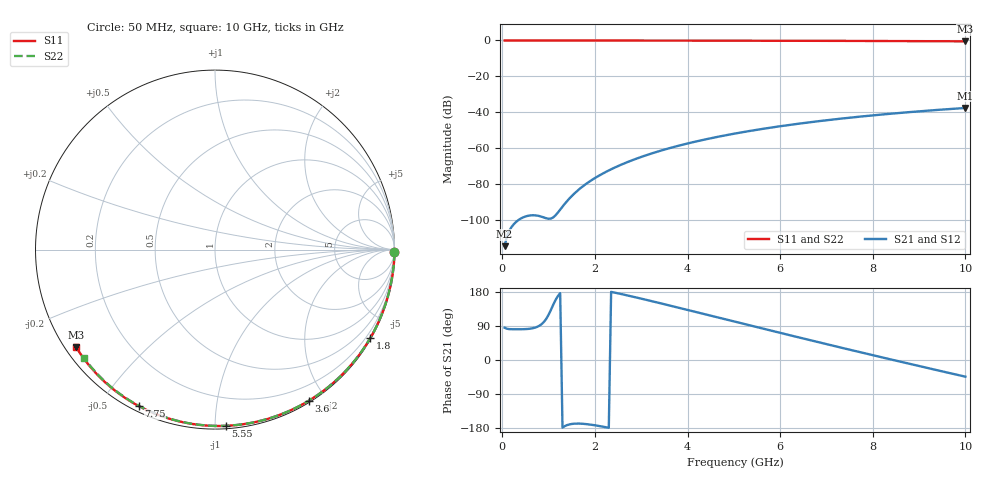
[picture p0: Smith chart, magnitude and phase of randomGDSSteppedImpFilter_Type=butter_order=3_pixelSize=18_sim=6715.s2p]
! freq	dB(S11)	phase(S11)	dB(S12)	phase(S12)
!  dB(S21)	phase(S21)	dB(S22)	phase(S22)
!S-par simulation data
#  GHz  S  DB  R 50
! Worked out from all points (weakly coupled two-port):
!   200 points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, 50 MHz to 10 GHz, reference 50 ohm
!   highest |S21| = -37.60 dB at 10 GHz (marker M1); lowest = -114.6 dB at 50 MHz (marker M2)
!   lowest |S11| = -0.5 dB at 10 GHz (marker M3), VSWR 35.73, Z = 1.54 - j15.8 ohm
!   |S11| at or under -10 dB: nowhere
!   |S22| runs from -0.5 to 0.0 dB; largest |S21 - S12| = 0
!   S11 on the Smith chart (normalised r, x): 50 MHz: open; 1.8 GHz: 0.03, -3.76; 3.6 GHz: 0.02, -1.80; 5.55 GHz: 0.02, -1.06; 7.75 GHz: 0.02, -0.62; 10 GHz: 0.03, -0.32
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0.05  -0.00 -0.8  -114.58 85.1  -114.58 85.1  -0.00 -0.8
0.45  -0.01 -7.6  -98.54 81.3  -98.54 81.3  -0.01 -7.3
0.9  -0.02 -15.0  -98.62 100.6  -98.62 100.6  -0.02 -14.6
1.3  -0.03 -21.6  -92.54 -178.3  -92.54 -178.3  -0.03 -21.0
1.75  -0.04 -29.0  -81.03 -168.4  -81.03 -168.4  -0.04 -28.1
1.8  -0.04 -29.8  -80.07 -169.0  -80.07 -169.0  -0.04 -28.9
2  -0.04 -33.0  -76.64 -172.2  -76.64 -172.2  -0.04 -32.0
2.15  -0.05 -35.4  -74.41 -175.4  -74.41 -175.4  -0.04 -34.3
2.5  -0.05 -41.0  -69.95 175.9  -69.95 175.9  -0.05 -39.7
2.9  -0.06 -47.3  -65.80 164.8  -65.80 164.8  -0.06 -45.8
3.4  -0.07 -55.0  -61.54 150.2  -61.54 150.2  -0.07 -53.3
3.6  -0.08 -58.1  -60.06 144.2  -60.06 144.2  -0.08 -56.3
4.3  -0.10 -68.5  -55.59 123.1  -55.59 123.1  -0.09 -66.5
5.05  -0.12 -79.4  -51.72 100.3  -51.72 100.3  -0.12 -77.1
5.55  -0.14 -86.5  -49.54 85.2  -49.54 85.2  -0.14 -83.9
6.1  -0.17 -94.1  -47.41 68.6  -47.41 68.6  -0.16 -91.3
6.7  -0.20 -102.2  -45.38 50.8  -45.38 50.8  -0.19 -99.2
7.2  -0.23 -108.8  -43.86 36.0  -43.86 36.0  -0.22 -105.6
7.75  -0.27 -116.0  -42.36 19.9  -42.36 19.9  -0.26 -112.6
8.35  -0.32 -123.8  -40.89 2.6  -40.89 2.6  -0.31 -120.1
9.2  -0.40 -134.7  -39.07 -21.6  -39.07 -21.6  -0.39 -130.5
10  -0.49 -144.9  -37.60 -44.0  -37.60 -44.0  -0.47 -140.3
